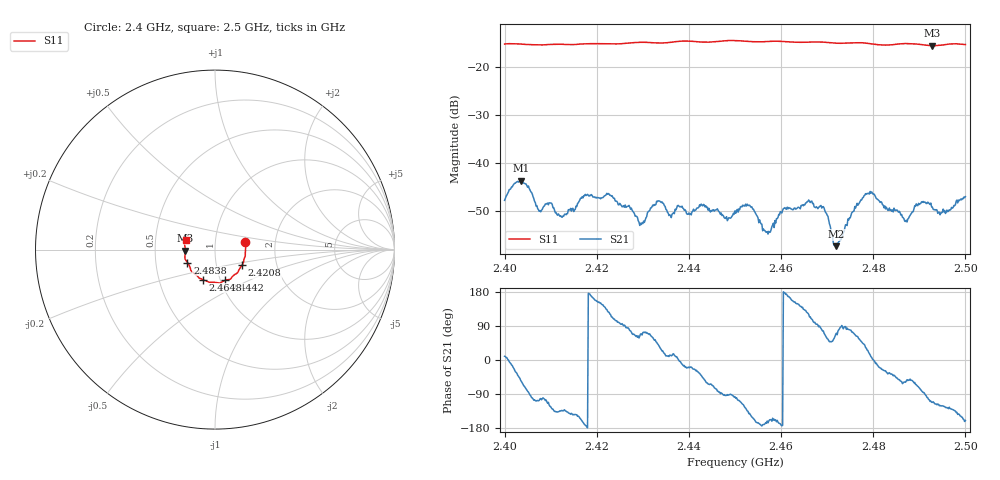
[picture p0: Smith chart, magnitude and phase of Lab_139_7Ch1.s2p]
# Hz S RI R 50
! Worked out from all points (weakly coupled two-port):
!   601 points, 2.4 GHz to 2.5 GHz, reference 50 ohm
!   highest |S21| = -43.74 dB at 2.4035 GHz (marker M1); lowest = -57.4 dB at 2.472 GHz (marker M2)
!   lowest |S11| = -15.6 dB at 2.4928 GHz (marker M3), VSWR 1.40, Z = 35.8 - j0.372 ohm
!   |S11| at or under -10 dB: start of sweep to end of sweep
!   S12 and S22 are empty: the file has one direction only
!   S11 on the Smith chart (normalised r, x): 2.4 GHz: 1.40, +0.12; 2.4208 GHz: 1.33, -0.24; 2.4442 GHz: 1.05, -0.37; 2.4648 GHz: 0.83, -0.29; 2.4838 GHz: 0.73, -0.11; 2.5 GHz: 0.72, +0.08
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2.4e9  0.1676 0.041  0.00398 0.000685  0 0  0 0
2.4035e9  0.1711 0.0214  0.00382 -0.00526  0 0  0 0
2.407333e9  0.169 -0.0122  -0.000984 -0.00308  0 0  0 0
2.412e9  0.1675 -0.0386  -0.00192 -0.00198  0 0  0 0
2.416667e9  0.1589 -0.0681  -0.00396 -0.00155  0 0  0 0
2.420833e9  0.1507 -0.0872  -0.00366 0.00206  0 0  0 0
2.4295e9  0.1259 -0.1289  0.000853 0.00217  0 0  0 0
2.433333e9  0.1079 -0.1402  0.00303 0.00261  0 0  0 0
2.436e9  0.0946 -0.1532  0.00275 0.000615  0 0  0 0
2.444167e9  0.0567 -0.1713  0.00143 -0.00285  0 0  0 0
2.45e9  0.0245 -0.1864  -0.000383 -0.00312  0 0  0 0
2.453167e9  0.00753 -0.1836  -0.0028 -0.00226  0 0  0 0
2.457167e9  -0.0211 -0.1825  -0.00174 -0.000443  0 0  0 0
2.464833e9  -0.0683 -0.1666  -0.00246 0.00255  0 0  0 0
2.466667e9  -0.08 -0.1627  -0.00122 0.00377  0 0  0 0
2.4695e9  -0.0914 -0.1555  0.00123 0.00291  0 0  0 0
2.472e9  -0.1018 -0.1438  0.000445 0.00127  0 0  0 0
2.4785e9  -0.1357 -0.1127  0.00401 0.00243  0 0  0 0
2.483333e9  -0.1504 -0.0763  0.00262 -0.00181  0 0  0 0
2.483833e9  -0.1533 -0.0722  0.00258 -0.00195  0 0  0 0
2.492833e9  -0.166 -0.00505  -0.00128 -0.00319  0 0  0 0
2.5e9  -0.1622 0.0528  -0.00415 -0.00152  0 0  0 0
